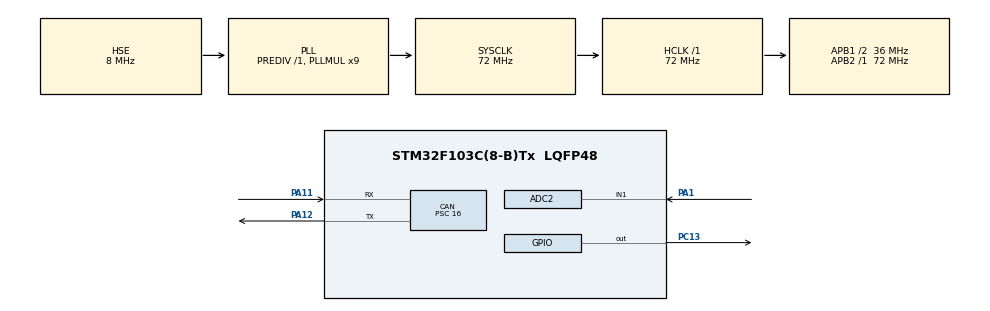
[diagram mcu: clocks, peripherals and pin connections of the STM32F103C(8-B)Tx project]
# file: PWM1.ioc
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ADC2.Channel-0\#ChannelRegularConversion=ADC_CHANNEL_1
ADC2.ContinuousConvMode=ENABLE
ADC2.NbrOfConversionFlag=1
ADC2.Rank-0\#ChannelRegularConversion=1
ADC2.SamplingTime-0\#ChannelRegularConversion=ADC_SAMPLETIME_1CYCLE_5
CAN.BS1=CAN_BS1_12TQ
CAN.BS2=CAN_BS2_5TQ
CAN.CalculateBaudRate=125000
CAN.CalculateTimeBit=7999.99
CAN.CalculateTimeQuantum=444.44444444444446
CAN.Prescaler=16
Mcu.Family=STM32F1
Mcu.Name=STM32F103C(8-B)Tx
Mcu.Package=LQFP48
NVIC.CAN1_RX1_IRQn=true\:0\:0\:false\:false\:true\:true\:true
NVIC.PriorityGroup=NVIC_PRIORITYGROUP_4
PA1.Signal=ADCx_IN1
PA11.Mode=CAN_Activate
PA11.Signal=CAN_RX
PA12.Mode=CAN_Activate
PA12.Signal=CAN_TX
PC13-TAMPER-RTC.Signal=GPIO_Output
PC14-OSC32_IN.Mode=LSE-External-Oscillator
PC14-OSC32_IN.Signal=RCC_OSC32_IN
PC15-OSC32_OUT.Mode=LSE-External-Oscillator
PC15-OSC32_OUT.Signal=RCC_OSC32_OUT
PD0-OSC_IN.Mode=HSE-External-Oscillator
PD0-OSC_IN.Signal=RCC_OSC_IN
PD1-OSC_OUT.Mode=HSE-External-Oscillator
PD1-OSC_OUT.Signal=RCC_OSC_OUT
ProjectManager.HeapSize=0x200
ProjectManager.StackSize=0x400
ProjectManager.TargetToolchain=STM32CubeIDE
RCC.ADCPresc=RCC_ADCPCLK2_DIV6
RCC.AHBFreq_Value=72000000
RCC.APB1CLKDivider=RCC_HCLK_DIV2
RCC.APB1Freq_Value=36000000
RCC.APB1TimFreq_Value=72000000
RCC.APB2Freq_Value=72000000
RCC.APB2TimFreq_Value=72000000
RCC.HCLKFreq_Value=72000000
RCC.PLLMUL=RCC_PLL_MUL9
RCC.PLLSourceVirtual=RCC_PLLSOURCE_HSE
RCC.SYSCLKFreq_VALUE=72000000
RCC.SYSCLKSource=RCC_SYSCLKSOURCE_PLLCLK
RCC.USBFreq_Value=72000000
SH.ADCx_IN1.0=ADC2_IN1,IN1
VP_SYS_VS_ND.Mode=No_Debug
board=custom

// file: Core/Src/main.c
/* USER CODE BEGIN Header */
/**
  ******************************************************************************
  * @file           : main.c
  * @brief          : Main program body
  ******************************************************************************
  * @attention
  *
  * <h2><center>&copy; Copyright (c) 2021 STMicroelectronics.
  * All rights reserved.</center></h2>
  *
  * This software component is licensed by ST under BSD 3-Clause license,
  * the "License"; You may not use this file except in compliance with the
  * License. You may obtain a copy of the License at:
  *                        opensource.org/licenses/BSD-3-Clause
  *
  ******************************************************************************
  */
/* USER CODE END Header */
#include "main.h"

ADC_HandleTypeDef hadc2;

CAN_HandleTypeDef hcan;

void SystemClock_Config(void);
static void MX_GPIO_Init(void);
static void MX_CAN_Init(void);
static void MX_ADC2_Init(void);

/* USER CODE BEGIN 0 */

CAN_TxHeaderTypeDef TxHeader;
CAN_RxHeaderTypeDef RxHeader;

uint8_t TxData[8];
uint8_t RxData[8];

uint32_t TxMailbox;

int datacheck = 0;

long int tick;

void HAL_CAN_RxFifo1MsgPendingCallback(CAN_HandleTypeDef *hcan)  //Função para recebimento de mensagens via CAN
{
	HAL_CAN_GetRxMessage(hcan, CAN_RX_FIFO1, &RxHeader, RxData); // Recebendo mensagens da rede CAN
	if (RxHeader.DLC == 2)
	{
		datacheck = 1; // Variavel para indicar que uma mensagem foi recebida
	}
}

/* USER CODE END 0 */

int main(void)
{

  /* MCU Configuration--------------------------------------------------------*/

  /* Reset of all peripherals, Initializes the Flash interface and the Systick. */
  HAL_Init();

  /* Configure the system clock */
  SystemClock_Config();

  /* Initialize all configured peripherals */
  MX_GPIO_Init();
  MX_CAN_Init();
  MX_ADC2_Init();
  /* USER CODE BEGIN 2 */

  HAL_CAN_Start(&hcan);

  // Activate the notification
  HAL_CAN_ActivateNotification(&hcan, CAN_IT_RX_FIFO1_MSG_PENDING);

  TxHeader.DLC = 2;  // Quantidade de bytes para envio de mensagens maximo são 8 mas só foram necessarios 2
  TxHeader.IDE = CAN_ID_STD; // Indicação do tipo de ID neste caso ID Standard
  TxHeader.RTR = CAN_RTR_DATA;
  TxHeader.StdId = 0x103; // ID  do dispositivo

  uint8_t x = 0; // Variavel para guardar o valor do ADC

  tick = HAL_GetTick(); // Variavel para função da contagem do tempo

  /* USER CODE END 2 */

  /* Infinite loop */
  /* USER CODE BEGIN WHILE */
  HAL_ADC_Start(&hadc2); // Iniciando a função de ADC

  while (1)
  {
    /* USER CODE END WHILE */

    /* USER CODE BEGIN 3 */
	  if (HAL_GetTick() - tick > 500) // Função para contagem de tempo
	  {
		  HAL_ADC_PollForConversion(&hadc2, 500); // Ajustando o Valor de ADC
		  x = HAL_ADC_GetValue(&hadc2)/50; // Gravando o Valor de ADC em uma variavel

		  HAL_GPIO_TogglePin(GPIOC, GPIO_PIN_13); // Alternando o estado do LED

		  TxData[0] = x; // Gravando o valor de ADC que estava na variavel e alocando no vetor de envio da para rede CAN

		  HAL_CAN_AddTxMessage(&hcan, &TxHeader, TxData, &TxMailbox);// enviando a mensagem para rede CAN

		  tick = HAL_GetTick(); // Zerando variavel
	  }

	  if(datacheck)
	  {
		  for (int i=0; i<5; i++)
		  {
			  HAL_GPIO_TogglePin(GPIOC, GPIO_PIN_13); // Alternando o estado do LED
			  HAL_Delay(50); //Delay de tempo
		  }
	  	  datacheck = 0; // Zerando a variavel de indicação
	  }

  }
  /* USER CODE END 3 */
}

void SystemClock_Config(void)
{
  RCC_OscInitTypeDef RCC_OscInitStruct = {0};
  RCC_ClkInitTypeDef RCC_ClkInitStruct = {0};
  RCC_PeriphCLKInitTypeDef PeriphClkInit = {0};

  /** Initializes the RCC Oscillators according to the specified parameters
  * in the RCC_OscInitTypeDef structure.
  */
  RCC_OscInitStruct.OscillatorType = RCC_OSCILLATORTYPE_HSE;
  RCC_OscInitStruct.HSEState = RCC_HSE_ON;
  RCC_OscInitStruct.HSEPredivValue = RCC_HSE_PREDIV_DIV1;
  RCC_OscInitStruct.HSIState = RCC_HSI_ON;
  RCC_OscInitStruct.PLL.PLLState = RCC_PLL_ON;
  RCC_OscInitStruct.PLL.PLLSource = RCC_PLLSOURCE_HSE;
  RCC_OscInitStruct.PLL.PLLMUL = RCC_PLL_MUL9;
  if (HAL_RCC_OscConfig(&RCC_OscInitStruct) != HAL_OK)
  {
    Error_Handler();
  }
  /** Initializes the CPU, AHB and APB buses clocks
  */
  RCC_ClkInitStruct.ClockType = RCC_CLOCKTYPE_HCLK|RCC_CLOCKTYPE_SYSCLK
                              |RCC_CLOCKTYPE_PCLK1|RCC_CLOCKTYPE_PCLK2;
  RCC_ClkInitStruct.SYSCLKSource = RCC_SYSCLKSOURCE_PLLCLK;
  RCC_ClkInitStruct.AHBCLKDivider = RCC_SYSCLK_DIV1;
  RCC_ClkInitStruct.APB1CLKDivider = RCC_HCLK_DIV2;
  RCC_ClkInitStruct.APB2CLKDivider = RCC_HCLK_DIV1;

  if (HAL_RCC_ClockConfig(&RCC_ClkInitStruct, FLASH_LATENCY_2) != HAL_OK)
  {
    Error_Handler();
  }
  PeriphClkInit.PeriphClockSelection = RCC_PERIPHCLK_ADC;
  PeriphClkInit.AdcClockSelection = RCC_ADCPCLK2_DIV6;
  if (HAL_RCCEx_PeriphCLKConfig(&PeriphClkInit) != HAL_OK)
  {
    Error_Handler();
  }
}

static void MX_ADC2_Init(void)
{

  ADC_ChannelConfTypeDef sConfig = {0};

  /** Common config
  */
  hadc2.Instance = ADC2;
  hadc2.Init.ScanConvMode = ADC_SCAN_DISABLE;
  hadc2.Init.ContinuousConvMode = ENABLE;
  hadc2.Init.DiscontinuousConvMode = DISABLE;
  hadc2.Init.ExternalTrigConv = ADC_SOFTWARE_START;
  hadc2.Init.DataAlign = ADC_DATAALIGN_RIGHT;
  hadc2.Init.NbrOfConversion = 1;
  if (HAL_ADC_Init(&hadc2) != HAL_OK)
  {
    Error_Handler();
  }
  /** Configure Regular Channel
  */
  sConfig.Channel = ADC_CHANNEL_1;
  sConfig.Rank = ADC_REGULAR_RANK_1;
  sConfig.SamplingTime = ADC_SAMPLETIME_1CYCLE_5;
  if (HAL_ADC_ConfigChannel(&hadc2, &sConfig) != HAL_OK)
  {
    Error_Handler();
  }

}

static void MX_CAN_Init(void)
{

  hcan.Instance = CAN1;
  hcan.Init.Prescaler = 16;
  hcan.Init.Mode = CAN_MODE_NORMAL;
  hcan.Init.SyncJumpWidth = CAN_SJW_1TQ;
  hcan.Init.TimeSeg1 = CAN_BS1_12TQ;
  hcan.Init.TimeSeg2 = CAN_BS2_5TQ;
  hcan.Init.TimeTriggeredMode = DISABLE;
  hcan.Init.AutoBusOff = DISABLE;
  hcan.Init.AutoWakeUp = DISABLE;
  hcan.Init.AutoRetransmission = DISABLE;
  hcan.Init.ReceiveFifoLocked = DISABLE;
  hcan.Init.TransmitFifoPriority = DISABLE;
  if (HAL_CAN_Init(&hcan) != HAL_OK)
  {
    Error_Handler();
  }
  /* USER CODE BEGIN CAN_Init 2 */

  CAN_FilterTypeDef canfilterconfig;

  canfilterconfig.FilterActivation = CAN_FILTER_ENABLE;
  canfilterconfig.FilterBank = 10;  // which filter bank to use from the assigned ones
  canfilterconfig.FilterFIFOAssignment = CAN_FILTER_FIFO1;
  canfilterconfig.FilterIdHigh = 0x102<<5;
  canfilterconfig.FilterIdLow = 0;
  canfilterconfig.FilterMaskIdHigh = 0x102<<5;
  canfilterconfig.FilterMaskIdLow = 0x0000;
  canfilterconfig.FilterMode = CAN_FILTERMODE_IDMASK;
  canfilterconfig.FilterScale = CAN_FILTERSCALE_32BIT;
  canfilterconfig.SlaveStartFilterBank = 0;  // doesn't matter in single can controllers

  HAL_CAN_ConfigFilter(&hcan, &canfilterconfig);

  /* USER CODE END CAN_Init 2 */

}

static void MX_GPIO_Init(void)
{
  GPIO_InitTypeDef GPIO_InitStruct = {0};

  /* GPIO Ports Clock Enable */
  __HAL_RCC_GPIOC_CLK_ENABLE();
  __HAL_RCC_GPIOD_CLK_ENABLE();
  __HAL_RCC_GPIOA_CLK_ENABLE();

  /*Configure GPIO pin Output Level */
  HAL_GPIO_WritePin(GPIOC, GPIO_PIN_13, GPIO_PIN_RESET);

  /*Configure GPIO pin : PC13 */
  GPIO_InitStruct.Pin = GPIO_PIN_13;
  GPIO_InitStruct.Mode = GPIO_MODE_OUTPUT_PP;
  GPIO_InitStruct.Pull = GPIO_NOPULL;
  GPIO_InitStruct.Speed = GPIO_SPEED_FREQ_LOW;
  HAL_GPIO_Init(GPIOC, &GPIO_InitStruct);

}

void Error_Handler(void)
{
  __disable_irq();
  while (1)
  {
  }
}

/************************ (C) COPYRIGHT STMicroelectronics *****END OF FILE****/
